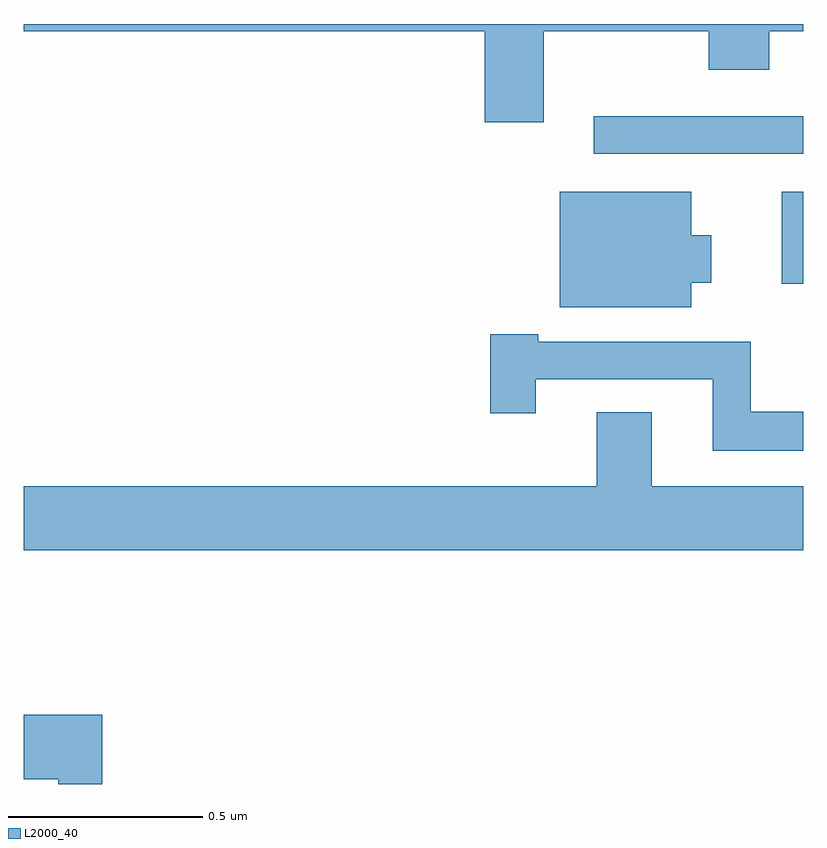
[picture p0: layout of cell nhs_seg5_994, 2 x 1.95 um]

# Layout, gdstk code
import gdstk
lib = gdstk.Library(unit=1e-6, precision=1e-09)
def R(c, l, rs):  # rectangles x0, y0, x1, y1
    for r in rs: c.add(gdstk.rectangle(r[:2], r[2:], *l))
def P(c, l, *ps):  # polygons
    for p in ps: c.add(gdstk.Polygon(p, *l))
L2000_40 = (2000, 40)

nhs_seg5_994 = lib.new_cell('nhs_seg5_994')
R(nhs_seg5_994, L2000_40, [(125.945,836.132,126,836.368), (125.463,836.466,126,836.562)])
P(nhs_seg5_994, L2000_40, [(125.335,836.78),(125.758,836.78),(125.758,836.681),(125.913,836.681),(125.913,836.78),(126,836.78),(126,836.799),(124,836.799),(124,836.78),(125.183,836.78),(125.183,836.547),(125.335,836.547)],
  [(125.713,836.135),(125.764,836.135),(125.764,836.257),(125.713,836.257),(125.713,836.368),(125.375,836.368),(125.375,836.072),(125.713,836.072)],
  [(126,835.804),(125.866,835.804),(125.866,835.983),(125.32,835.983),(125.32,836.003),(125.197,836.003),(125.197,835.8),(125.314,835.8),(125.314,835.887),(125.768,835.887),(125.768,835.703),(126,835.703)],
  [(126,835.612),(125.611,835.612),(125.611,835.802),(125.471,835.802),(125.471,835.612),(124,835.612),(124,835.448),(126,835.448)],
  [(124.201,835.026),(124,835.026),(124,834.86),(124.088,834.86),(124.088,834.848),(124.201,834.848)])

lib.write_gds('nhs_seg5_994.gds')
